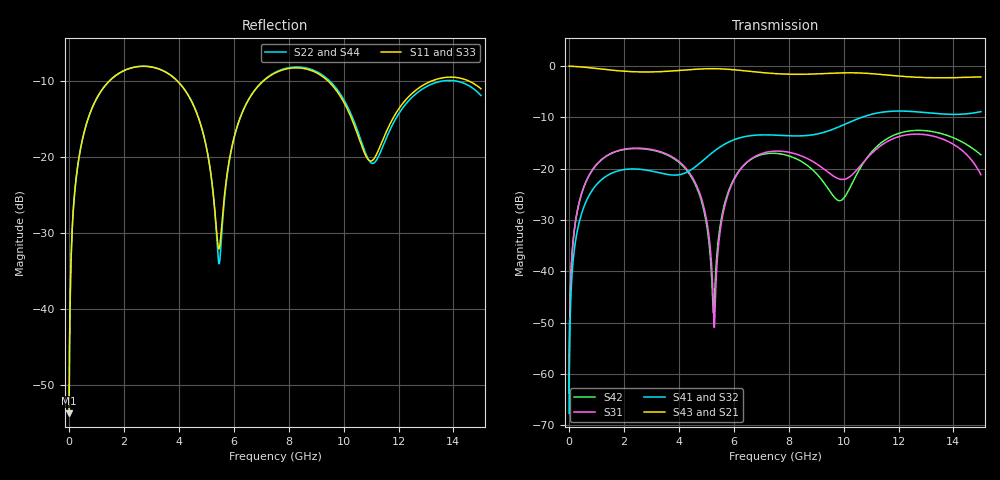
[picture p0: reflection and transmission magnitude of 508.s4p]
! Created with skrf 1.8.0 (http://scikit-rf.org).
# GHz S RI R 50.0
!freq ReS11 ImS11 ReS12 ImS12 ReS13 ImS13
! ReS14 ImS14
! ReS21 ImS21 ReS22 ImS22 ReS23 ImS23
! ReS24 ImS24
! ReS31 ImS31 ReS32 ImS32 ReS33 ImS33
! ReS34 ImS34
! ReS41 ImS41 ReS42 ImS42 ReS43 ImS43
! ReS44 ImS44
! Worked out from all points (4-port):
!   2499 points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, 5 MHz to 15 GHz, reference 50 ohm
!   strongest paths, dB at 5 MHz, 3.476 GHz, 7.19 GHz, 11.1 GHz, 15 GHz:
!     S43: 0.0, -1.0, -1.3, -1.5, -2.1
!     S21: 0.0, -1.0, -1.3, -1.5, -2.1
!     S41: -67.7, -21.0, -13.4, -9.3, -8.9
!     S32: -67.7, -21.1, -13.4, -9.3, -8.9
!     S31: -63.7, -17.0, -16.8, -16.6, -21.2
!     S42: -63.7, -17.1, -17.1, -16.3, -17.3
!   lowest |S11| = -53.7 dB at 5 MHz (marker M1), VSWR 1.00, Z = 50.2 + j0.125 ohm
!   |S11| at or under -10 dB: start of sweep to 1.488 GHz; 3.927 GHz to 7.098 GHz (3.171 GHz wide, 57.5 % of centre); 9.413 GHz to 13.25 GHz (3.836 GHz wide, 33.9 % of centre) (the widest 3 of 4)
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0.005  0.00164 0.00125  0.9983 -0.00319  8.22e-05 0.000645  -7.99e-05 -0.000405
       0.9983 -0.00319  0.00164 0.00125  -7.99e-05 -0.000405  8.22e-05 0.000645
       8.22e-05 0.000645  -7.99e-05 -0.000405  0.00164 0.00125  0.9983 -0.00319
       -7.99e-05 -0.000405  8.22e-05 0.000645  0.9983 -0.00319  0.00164 0.00125
0.3126303  0.024 0.082  0.9672 -0.1986  0.011 0.0383  -0.00913 -0.0238
           0.9672 -0.1986  0.0241 0.082  -0.00913 -0.0238  0.0109 0.0384
           0.011 0.0383  -0.00913 -0.0238  0.024 0.082  0.9672 -0.1986
           -0.00913 -0.0238  0.0109 0.0384  0.9672 -0.1986  0.0241 0.082
1.569404  0.2736 0.1777  0.5415 -0.7343  0.13 0.0587  -0.0907 -0.00478
          0.5415 -0.7343  0.2744 0.1772  -0.0906 -0.00487  0.1278 0.0617
          0.13 0.0587  -0.0906 -0.00487  0.2737 0.1777  0.5414 -0.7344
          -0.0907 -0.00478  0.1278 0.0617  0.5414 -0.7344  0.2744 0.1772
5.289704  0.0287 -0.0398  -0.9278 -0.1698  -0.00282 0.000293  -0.0215 0.1467
          -0.9278 -0.1698  0.024 -0.0419  -0.023 0.1465  0.00423 0.00271
          -0.00282 0.000293  -0.023 0.1465  0.0276 -0.0413  -0.9277 -0.17
          -0.0215 0.1467  0.00423 0.00271  -0.9277 -0.17  0.0256 -0.043
8.47228  0.3805 -0.0223  0.00528 0.8317  0.0877 -0.1  0.2039 -0.0463
         0.00528 0.8317  0.386 -0.0242  0.2043 -0.0434  0.0879 -0.0775
         0.0877 -0.1  0.2043 -0.0434  0.3797 -0.0207  0.0063 0.8322
         0.2039 -0.0463  0.0879 -0.0775  0.0063 0.8322  0.3846 -0.0269
11.25469  0.1039 0.0316  0.8339 -0.0124  0.0106 0.1596  -0.0236 -0.3492
          0.8339 -0.0124  0.0971 0.0186  -0.0182 -0.3489  0.0441 0.1628
          0.0106 0.1596  -0.0182 -0.3489  0.1066 0.0342  0.8337 -0.0152
          -0.0236 -0.3492  0.0441 0.1628  0.8337 -0.0152  0.0945 0.0192
15  0.2511 -0.1224  -0.3457 -0.7051  0.0207 -0.0849  -0.3065 0.1886
    -0.3457 -0.7051  0.2242 -0.1159  -0.3116 0.1782  -0.00939 -0.1365
    0.0207 -0.0849  -0.3116 0.1782  0.2485 -0.1305  -0.3497 -0.7027
    -0.3065 0.1886  -0.00939 -0.1365  -0.3497 -0.7027  0.2273 -0.1099
